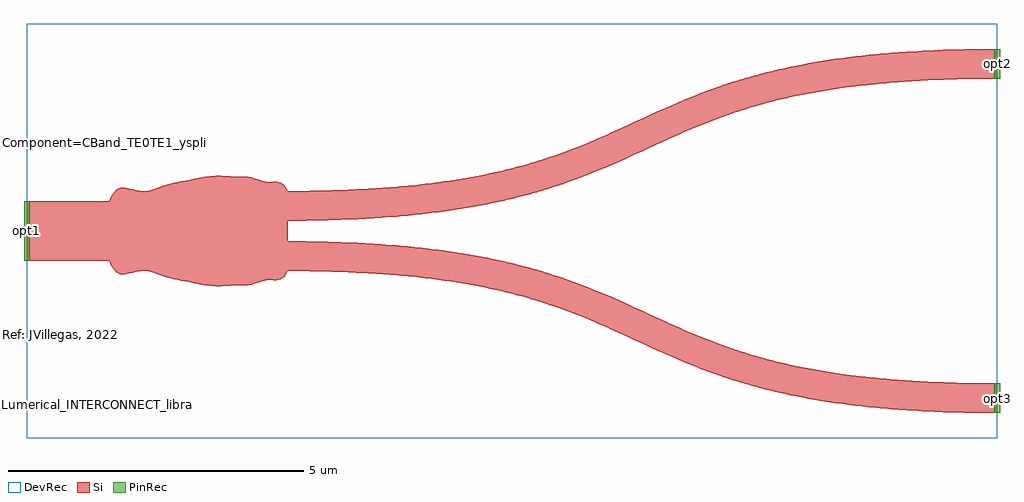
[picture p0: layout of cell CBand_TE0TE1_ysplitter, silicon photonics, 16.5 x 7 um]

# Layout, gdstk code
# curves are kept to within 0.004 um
import gdstk
lib = gdstk.Library(unit=1e-6, precision=1e-09)
def R(c, l, rs):  # rectangles x0, y0, x1, y1
    for r in rs: c.add(gdstk.rectangle(r[:2], r[2:], *l))
def P(c, l, *ps):  # polygons
    for p in ps: c.add(gdstk.Polygon(p, *l))
Si = (1, 0)
PinRec = (1, 10)
DevRec = (68, 0)

cband_te0te1_ysplitter = lib.new_cell('CBand_TE0TE1_ysplitter')
R(cband_te0te1_ysplitter, Si, [(-8.4,-0.5,-7,0.5)])
P(cband_te0te1_ysplitter, Si, [(-5.21,-0.931),(-5.332,-0.921),(-5.485,-0.898),(-5.942,-0.806),(-6.095,-0.764),(-6.278,-0.698),(-6.369,-0.676),(-6.43,-0.672),(-6.491,-0.677),(-6.766,-0.735),(-6.827,-0.729),(-6.888,-0.695),(-6.919,-0.665),(-6.949,-0.623),(-7.01,-0.5),(-7.01,0.5),(-6.98,0.568),(-6.919,0.665),(-6.858,0.716),(-6.827,0.729),(-6.766,0.735),(-6.491,0.677),(-6.43,0.672),(-6.369,0.676),(-6.278,0.698),(-6.095,0.764),(-5.942,0.806),(-5.485,0.898),(-5.332,0.921),(-5.21,0.931),(-4.661,0.915),(-4.6,0.905),(-4.356,0.83),(-4.295,0.825),(-4.173,0.832),(-4.112,0.818),(-4.082,0.799),(-4.051,0.77),(-3.99,0.675),(-3.99,-0.675),(-4.021,-0.729),(-4.051,-0.77),(-4.082,-0.799),(-4.112,-0.818),(-4.143,-0.828),(-4.204,-0.832),(-4.295,-0.825),(-4.356,-0.83),(-4.631,-0.911),(-4.722,-0.92)],
  [(7.841,-3.075),(7.455,-3.07),(6.807,-3.048),(6.34,-3.02),(5.843,-2.977),(5.384,-2.923),(4.958,-2.859),(4.469,-2.766),(4.152,-2.693),(3.813,-2.603),(3.534,-2.519),(3.055,-2.352),(2.582,-2.161),(1.346,-1.602),(0.901,-1.417),(0.387,-1.231),(0.127,-1.15),(-0.189,-1.063),(-0.573,-0.973),(-1.09,-0.876),(-1.612,-0.802),(-1.952,-0.765),(-2.503,-0.72),(-2.967,-0.696),(-3.465,-0.68),(-4,-0.675),(-4,-0.175),(-3.455,-0.18),(-2.807,-0.202),(-2.34,-0.23),(-1.903,-0.267),(-1.384,-0.327),(-0.958,-0.391),(-0.469,-0.484),(-0.152,-0.557),(0.187,-0.647),(0.466,-0.731),(0.945,-0.898),(1.418,-1.089),(2.654,-1.648),(3.099,-1.833),(3.613,-2.019),(3.873,-2.1),(4.189,-2.187),(4.573,-2.277),(5.09,-2.374),(5.612,-2.448),(5.952,-2.485),(6.503,-2.53),(6.967,-2.554),(7.465,-2.57),(8,-2.575),(8,-3.075)],
  [(-4,0.175),(-4,0.675),(-3.465,0.68),(-2.967,0.696),(-2.503,0.72),(-1.952,0.765),(-1.612,0.802),(-1.09,0.876),(-0.573,0.973),(-0.189,1.063),(0.127,1.15),(0.387,1.231),(0.901,1.417),(1.346,1.602),(2.582,2.161),(3.055,2.352),(3.534,2.519),(3.813,2.603),(4.152,2.693),(4.469,2.766),(4.958,2.859),(5.384,2.923),(5.903,2.983),(6.34,3.02),(6.807,3.048),(7.455,3.07),(8,3.075),(8,2.575),(7.465,2.57),(6.967,2.554),(6.503,2.53),(5.952,2.485),(5.612,2.448),(5.09,2.374),(4.573,2.277),(4.189,2.187),(3.873,2.1),(3.613,2.019),(3.099,1.833),(2.654,1.648),(1.418,1.089),(0.945,0.898),(0.466,0.731),(0.187,0.647),(-0.152,0.557),(-0.469,0.484),(-0.958,0.391),(-1.384,0.327),(-1.903,0.267),(-2.34,0.23),(-2.807,0.202),(-3.455,0.18)])
R(cband_te0te1_ysplitter, DevRec, [(-8.4,-3.5,8,3.5)])
cband_te0te1_ysplitter.add(gdstk.FlexPath([(-8.35,0),(-8.45,0)], 1, ends="flush", simple_path=True, layer=1, datatype=10))  # PinRec
cband_te0te1_ysplitter.add(gdstk.FlexPath([(7.95,-2.825),(8.05,-2.825)], 0.5, ends="flush", simple_path=True, layer=1, datatype=10))  # PinRec
cband_te0te1_ysplitter.add(gdstk.FlexPath([(7.95,2.825),(8.05,2.825)], 0.5, ends="flush", simple_path=True, layer=1, datatype=10))  # PinRec
cband_te0te1_ysplitter.add(gdstk.Label('Component=CBand_TE0TE1_ysplitter', (-7.932,1.5), layer=68, texttype=0))
cband_te0te1_ysplitter.add(gdstk.Label('Lumerical_INTERCONNECT_library=Design Kits/PRL_PDK', (-7.91,-2.94), layer=68, texttype=0))
cband_te0te1_ysplitter.add(gdstk.Label('opt2', (8,2.825), layer=1, texttype=10))
cband_te0te1_ysplitter.add(gdstk.Label('opt1', (-8.4,0), layer=1, texttype=10))
cband_te0te1_ysplitter.add(gdstk.Label('opt3', (8,-2.825), layer=1, texttype=10))
cband_te0te1_ysplitter.add(gdstk.Label('Ref: JVillegas, 2022', (-7.947,-1.747), layer=10, texttype=0))

lib.write_gds('CBand_TE0TE1_ysplitter.gds')
